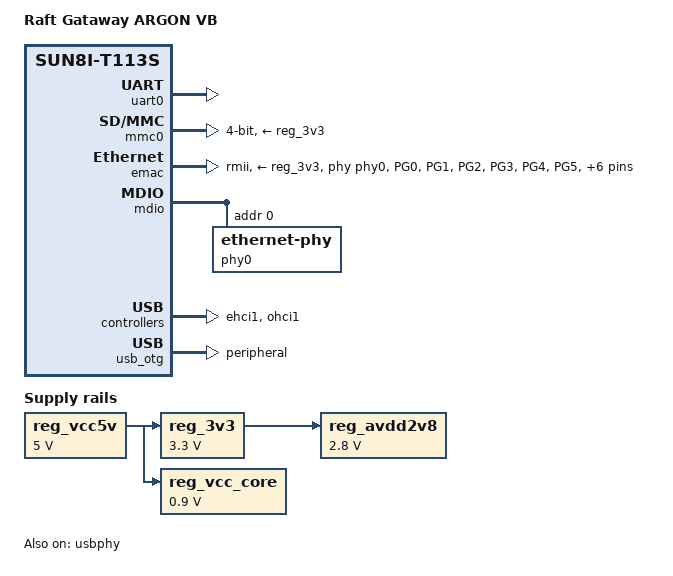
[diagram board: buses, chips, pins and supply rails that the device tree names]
// SPDX-License-Identifier: (GPL-2.0+ OR MIT)
// Copyright (C) 2022 Arm Ltd.

#include <dt-bindings/interrupt-controller/irq.h>
#include <dt-bindings/gpio/gpio.h>
#include <dt-bindings/leds/common.h>

/dts-v1/;

#include "sun8i-t113s.dtsi"

/ {
	model = "Raft Gataway ARGON VB";
	compatible = "allwinner,sun8i-t113s";

	aliases {
		serial0 = &uart0;
	};

	chosen {
		stdout-path = "serial0:115200n8";
	};

	/* board wide 5V supply directly from DC input */
	reg_vcc5v: regulator-5v {
		compatible = "regulator-fixed";
		regulator-name = "vcc-5v";
		regulator-min-microvolt = <5000000>;
		regulator-max-microvolt = <5000000>;
		regulator-always-on;
	};

	/* AMS1117-3.3 regulator on the board */
	reg_3v3: regulator-3v3 {
		compatible = "regulator-fixed";
		regulator-name = "vcc-3v3";
		regulator-min-microvolt = <3300000>;
		regulator-max-microvolt = <3300000>;
		vin-supply = <&reg_vcc5v>;
	};

	/* EA3036C DC/DC regulator on the board, also supplying VDD-SYS */
	reg_vcc_core: regulator-core {
		compatible = "regulator-fixed";
		regulator-name = "vcc-core";
		regulator-min-microvolt = <900000>;
		regulator-max-microvolt = <900000>;
		vin-supply = <&reg_vcc5v>;
	};

	/* XC6206 LDO on the board */
	reg_avdd2v8: regulator-avdd {
		compatible = "regulator-fixed";
		regulator-name = "avdd2v8";
		regulator-min-microvolt = <2800000>;
		regulator-max-microvolt = <2800000>;
		vin-supply = <&reg_3v3>;
	};

	watchdog {
		compatible = "allwinner,sun20i-d1-wdt";
		reg = <0x020500A0 0x20>;
	};

	raft-user-gpios {
		compatible = "raft-user-gpios";
		mesh-pwr-gpios {
			pin = "PB2";
			function = "output";
			value = <1>;
		};

		wifi-pwr-gpios {
			pin = "PG6";
			function = "output";
			value = <1>;
		};

		4g-pwr-gpios {
			pin = "PD22";
			function = "output";
			value = <1>;
		};

		4g-rst-gpios {
			pin = "PE1";
			function = "reset";
			value = <0>;
			keep_ms = <100>;
		};

                ephy-rst-gpios {
			pin = "PG9";
			function = "reset";
			value = <0>;
			keep_ms = <100>;
		};

                ble-reset-gpios {
                        pin = "PD15";
                        function = "output";
                        value = <1>;
                };
	};
};

&dcxo {
	clock-frequency = <24000000>;
};

&cpu0 {
	cpu-supply = <&reg_vcc_core>;
};

&cpu1 {
	cpu-supply = <&reg_vcc_core>;
};

&uart0 {
	pinctrl-names = "default";
	pinctrl-0 = <&uart0_pe_pins>;
	status = "okay";
};

&mmc0 {
	pinctrl-names = "default";
	pinctrl-0 = <&mmc0_pins>;
	vmmc-supply = <&reg_3v3>;
	disable-wp;
	bus-width = <4>;
	status = "okay";
};

&pio {
	vcc-pb-supply = <&reg_3v3>;
	vcc-pd-supply = <&reg_3v3>;
	vcc-pe-supply = <&reg_avdd2v8>;
	vcc-pf-supply = <&reg_3v3>;
	vcc-pg-supply = <&reg_3v3>;

	rmii_pg_pins: rmii-pg-pins {
		pins = "PG0", "PG1", "PG2", "PG3", "PG4",
		"PG5", "PG8", "PG11", "PG12", "PG13", "PG14", "PG15";
		function = "emac";
	};
};

&emac {
	compatible = "allwinner,sun50i-h6-emac";
	pinctrl-names = "default";
	pinctrl-0 = <&rmii_pg_pins>;
	clocks = <&ccu CLK_BUS_EMAC>, <&ccu CLK_EMAC_25M>;
	clock-names = "stmmaceth", "ext25m_clk";
	phy-mode = "rmii";
	phy-handle = <&phy0>;
	phy-supply = <&reg_3v3>;
	status = "okay";
};

&mdio {
	phy0: ethernet-phy@0 {
		reg = <0>;
		motorcomm,auto-sleep-disabled;
		motorcomm,keep-pll-enabled;
	};
};

&ehci1 {
	status = "okay";
};

&ohci1 {
	status = "okay";
};
/* The USB-C socket has its CC pins pulled to GND, so is hardwired as a UFP. */
&usb_otg {
	dr_mode = "peripheral";
	status = "okay";
};

&usbphy {
	usb1_vbus-supply = <&reg_vcc5v>;
	status = "okay";
};
